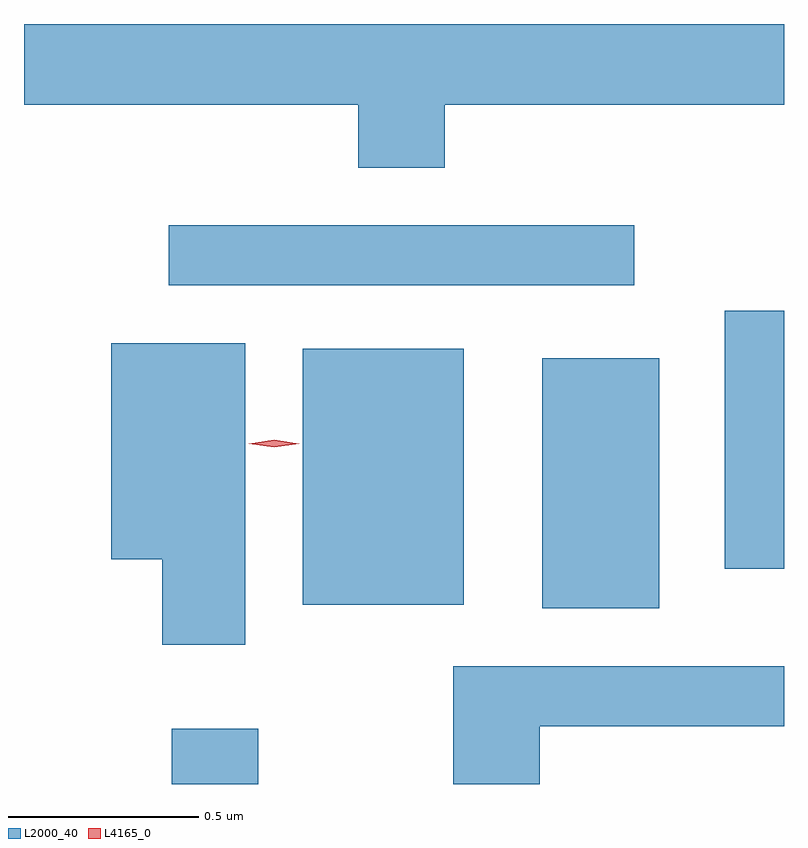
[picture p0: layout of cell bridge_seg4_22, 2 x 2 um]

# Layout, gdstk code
import gdstk
lib = gdstk.Library(unit=1e-6, precision=1e-09)
def R(c, l, rs):  # rectangles x0, y0, x1, y1
    for r in rs: c.add(gdstk.rectangle(r[:2], r[2:], *l))
def P(c, l, *ps):  # polygons
    for p in ps: c.add(gdstk.Polygon(p, *l))
L2000_40 = (2000, 40)
L4165_0 = (4165, 0)

bridge_seg4_22 = lib.new_cell('bridge_seg4_22')
R(bridge_seg4_22, L2000_40, [(1264.641,1292.949,1264.869,1293.094), (1265.616,1293.411,1265.924,1294.069), (1264.986,1293.421,1265.409,1294.094), (1266.096,1293.516,1266.252,1294.194), (1264.633,1294.261,1265.858,1294.419)])
P(bridge_seg4_22, L2000_40, [(1265.359,1294.736),(1266.252,1294.736),(1266.252,1294.949),(1264.252,1294.949),(1264.252,1294.736),(1265.131,1294.736),(1265.131,1294.571),(1265.359,1294.571)],
  [(1264.834,1294.109),(1264.481,1294.109),(1264.481,1293.541),(1264.616,1293.541),(1264.616,1293.316),(1264.834,1293.316)],
  [(1265.609,1293.101),(1266.252,1293.101),(1266.252,1293.259),(1265.381,1293.259),(1265.381,1292.949),(1265.609,1292.949)])
P(bridge_seg4_22, L4165_0, [(1264.91,1293.835),(1264.843,1293.844),(1264.843,1293.845),(1264.843,1293.845),(1264.91,1293.855),(1264.976,1293.845),(1264.976,1293.845),(1264.976,1293.844)])

lib.write_gds('bridge_seg4_22.gds')
